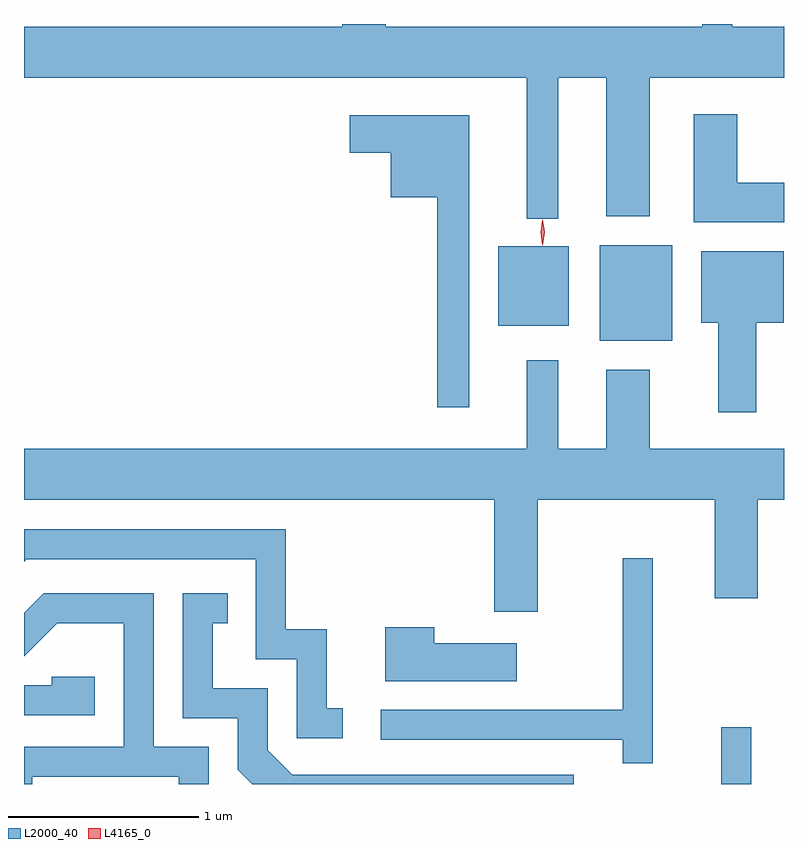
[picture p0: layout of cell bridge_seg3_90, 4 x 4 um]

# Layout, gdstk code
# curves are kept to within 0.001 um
import gdstk
lib = gdstk.Library(unit=1e-6, precision=1e-09)
def R(c, l, rs):  # rectangles x0, y0, x1, y1
    for r in rs: c.add(gdstk.rectangle(r[:2], r[2:], *l))
def P(c, l, *ps):  # polygons
    for p in ps: c.add(gdstk.Polygon(p, *l))
L2000_40 = (2000, 40)
L4165_0 = (4165, 0)

bridge_seg3_90 = lib.new_cell('bridge_seg3_90')
R(bridge_seg3_90, L2000_40, [(1179.036,1120.079,1179.194,1120.378), (1178.396,1122.411,1178.779,1122.914), (1177.861,1122.491,1178.234,1122.909)])
P(bridge_seg3_90, L2000_40, [(1178.179,1123.796),(1178.431,1123.796),(1178.431,1123.066),(1178.659,1123.066),(1178.659,1123.796),(1179.366,1123.796),(1179.366,1124.064),(1179.094,1124.064),(1179.094,1124.079),(1178.936,1124.079),(1178.936,1124.064),(1177.269,1124.064),(1177.269,1124.079),(1177.041,1124.079),(1177.041,1124.064),(1175.366,1124.064),(1175.366,1123.796),(1178.011,1123.796),(1178.011,1123.053),(1178.179,1123.053)],
  [(1179.366,1123.244),(1179.119,1123.244),(1179.119,1123.604),(1178.891,1123.604),(1178.891,1123.036),(1179.366,1123.036)],
  [(1177.709,1123.599),(1177.081,1123.599),(1177.081,1123.401),(1177.296,1123.401),(1177.296,1123.166),(1177.541,1123.166),(1177.541,1122.063),(1177.709,1122.063)],
  [(1179.219,1122.506),(1179.364,1122.506),(1179.364,1122.884),(1178.931,1122.884),(1178.931,1122.506),(1179.021,1122.506),(1179.021,1122.036),(1179.219,1122.036)],
  [(1178.069,1121.576),(1179.001,1121.576),(1179.001,1121.056),(1179.229,1121.056),(1179.229,1121.576),(1179.366,1121.576),(1179.366,1121.844),(1178.659,1121.844),(1178.659,1122.259),(1178.431,1122.259),(1178.431,1121.844),(1178.179,1121.844),(1178.179,1122.308),(1178.011,1122.308),(1178.011,1121.844),(1175.366,1121.844),(1175.366,1121.576),(1177.841,1121.576),(1177.841,1120.986),(1178.069,1120.986)],
  [(1177.043,1120.479),(1176.959,1120.479),(1176.959,1120.894),(1176.744,1120.894),(1176.744,1121.419),(1175.366,1121.419),(1175.366,1121.25),(1175.377,1121.261),(1176.586,1121.261),(1176.586,1120.736),(1176.801,1120.736),(1176.801,1120.321),(1177.043,1120.321)],
  [(1178.674,1121.268),(1178.516,1121.268),(1178.516,1120.469),(1177.243,1120.469),(1177.243,1120.311),(1178.516,1120.311),(1178.516,1120.188),(1178.674,1120.188)],
  [(1178.259,1120.129),(1176.777,1120.129),(1176.649,1120.257),(1176.649,1120.584),(1176.359,1120.584),(1176.359,1120.926),(1176.438,1120.926),(1176.438,1121.084),(1176.201,1121.084),(1176.201,1120.426),(1176.491,1120.426),(1176.491,1120.154),(1176.566,1120.079),(1178.259,1120.079)],
  [(1175.409,1120.116),(1176.181,1120.116),(1176.181,1120.079),(1176.339,1120.079),(1176.339,1120.274),(1176.049,1120.274),(1176.049,1121.084),(1175.469,1121.084),(1175.366,1120.981),(1175.366,1120.751),(1175.542,1120.926),(1175.891,1120.926),(1175.891,1120.274),(1175.366,1120.274),(1175.366,1120.079),(1175.409,1120.079)],
  [(1177.959,1120.819),(1177.524,1120.819),(1177.524,1120.904),(1177.266,1120.904),(1177.266,1120.621),(1177.959,1120.621)],
  [(1175.739,1120.644),(1175.511,1120.644),(1175.511,1120.599),(1175.366,1120.599),(1175.366,1120.441),(1175.739,1120.441)])
P(bridge_seg3_90, L4165_0, [(1178.094,1122.918),(1178.085,1122.982),(1178.094,1123.046),(1178.095,1123.047),(1178.096,1123.046),(1178.105,1122.982),(1178.096,1122.918),(1178.095,1122.918)],
  [(1178.096,1122.914),(1178.096,1122.914),(1178.086,1122.982),(1178.095,1123.05),(1178.096,1123.05),(1178.096,1123.05),(1178.106,1122.982),(1178.096,1122.914)])

lib.write_gds('bridge_seg3_90.gds')
